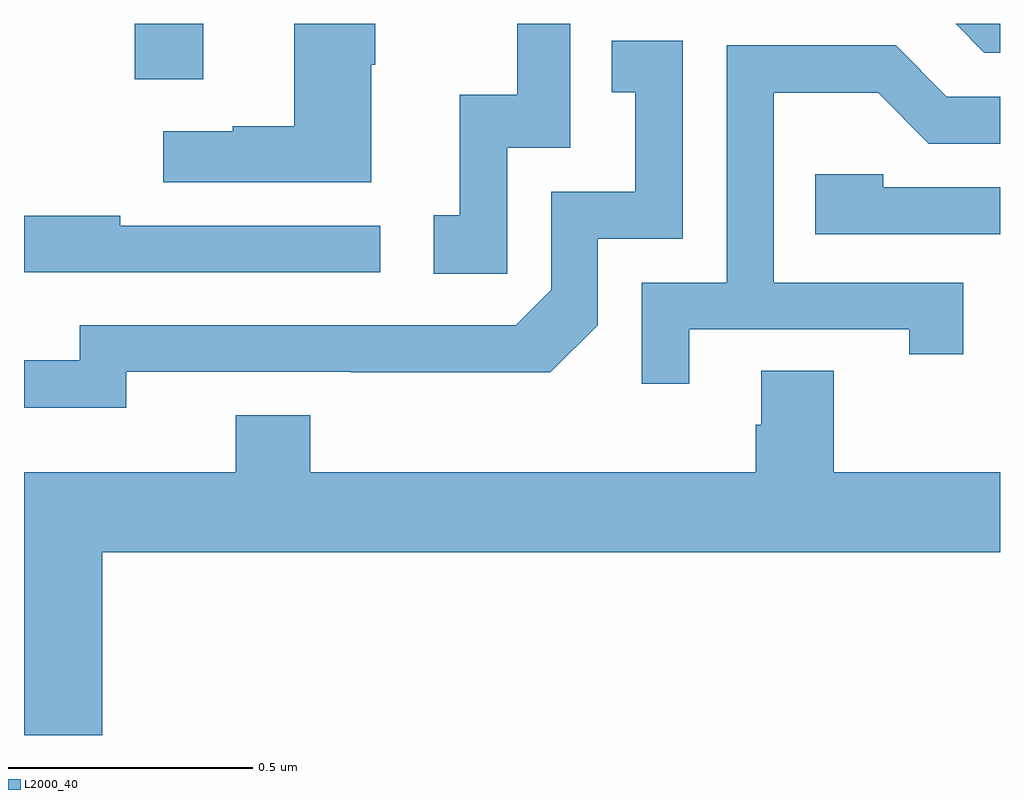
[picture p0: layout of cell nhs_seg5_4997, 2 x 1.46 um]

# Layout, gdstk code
import gdstk
lib = gdstk.Library(unit=1e-6, precision=1e-09)
def R(c, l, rs):  # rectangles x0, y0, x1, y1
    for r in rs: c.add(gdstk.rectangle(r[:2], r[2:], *l))
def P(c, l, *ps):  # polygons
    for p in ps: c.add(gdstk.Polygon(p, *l))
L2000_40 = (2000, 40)

nhs_seg5_4997 = lib.new_cell('nhs_seg5_4997')
R(nhs_seg5_4997, L2000_40, [(177.227,901.686,177.367,901.799)])
P(nhs_seg5_4997, L2000_40, [(177.99,901.545),(178.119,901.545),(178.119,901.799),(178.011,901.799),(178.011,901.654),(177.893,901.654),(177.893,901.407),(177.84,901.407),(177.84,901.287),(177.99,901.287)],
  [(179,901.799),(178.909,901.799),(178.968,901.74),(179,901.74)],
  [(177.712,901.715),(177.72,901.715),(177.72,901.799),(177.554,901.799),(177.554,901.589),(177.428,901.589),(177.428,901.579),(177.285,901.579),(177.285,901.475),(177.712,901.475)],
  [(177.21,901.086),(177.67,901.086),(177.67,901.085),(178.078,901.085),(178.176,901.182),(178.176,901.359),(178.35,901.359),(178.35,901.765),(178.204,901.765),(178.204,901.659),(178.253,901.659),(178.253,901.455),(178.08,901.455),(178.08,901.254),(178.008,901.182),(177.114,901.182),(177.114,901.11),(177,901.11),(177,901.013),(177.21,901.013)],
  [(178.363,901.173),(178.814,901.173),(178.814,901.122),(178.925,901.122),(178.925,901.269),(178.536,901.269),(178.536,901.658),(178.75,901.658),(178.854,901.554),(179,901.554),(179,901.65),(178.891,901.65),(178.786,901.755),(178.44,901.755),(178.44,901.269),(178.266,901.269),(178.266,901.062),(178.363,901.062)],
  [(179,901.464),(178.761,901.464),(178.761,901.491),(178.621,901.491),(178.621,901.368),(179,901.368)],
  [(177.73,901.386),(177.197,901.386),(177.197,901.406),(177,901.406),(177,901.29),(177.73,901.29)],
  [(177.16,900.716),(179,900.716),(179,900.88),(178.659,900.88),(178.659,901.088),(178.511,901.088),(178.511,900.978),(178.499,900.978),(178.499,900.88),(177.587,900.88),(177.587,900.997),(177.434,900.997),(177.434,900.88),(177,900.88),(177,900.342),(177.16,900.342)])

lib.write_gds('nhs_seg5_4997.gds')
